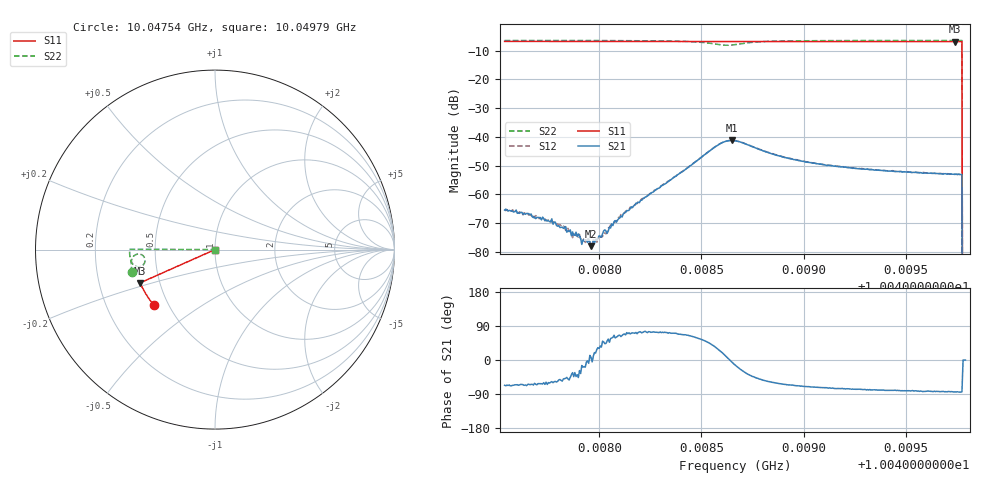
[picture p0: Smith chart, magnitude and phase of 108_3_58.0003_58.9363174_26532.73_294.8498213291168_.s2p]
#  HZ  S  RI  R  50.00
! Rohde & Schwarz Vector Network Analyzer
! Rohde-Schwarz,ZNB20-2Port,1311601062101988,3.16
! Created: UTC 3/21/2024, 12:55:06 AM
! freq[Hz]  re:S11  im:S11  re:S21  im:S21  re:S12  im:S12  re:S22  im:S22
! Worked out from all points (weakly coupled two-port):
!   401 points, 10.04754 GHz to 10.04979 GHz, reference 50 ohm
!   highest |S21| = -41.22 dB at 10.04865 GHz (marker M1); lowest = -78.0 dB at 10.04796 GHz (marker M2)
!   lowest |S11| = -6.8 dB at 10.04974 GHz (marker M3), VSWR 2.68, Z = 19.4 - j9.16 ohm
!   |S11| at or under -10 dB: 10.04978 GHz to end of sweep
!   |S22| runs from - to -6.4 dB; largest |S21 - S12| = 0.0006
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1.0047537e10  -0.3396 -0.3105  0.000211 -0.000488  0.000234 -0.000494  -0.4606 -0.1264
1.0047655e10  -0.3448 -0.3044  0.000201 -0.000414  0.000194 -0.000389  -0.4625 -0.1178
1.0047683e10  -0.3457 -0.3031  0.000188 -0.000349  0.000199 -0.000337  -0.4628 -0.1158
1.0047773e10  -0.3496 -0.2983  0.000152 -0.000261  0.000183 -0.000277  -0.4642 -0.1091
1.0047852e10  -0.3529 -0.294  0.000136 -0.000178  0.000138 -0.000182  -0.465 -0.1028
1.0047897e10  -0.3546 -0.2918  0.000141 -0.000147  0.000147 -0.000105  -0.4655 -0.0993
1.0047914e10  -0.3555 -0.2909  0.00013 -3.38e-05  0.000163 -6.5e-05  -0.4658 -0.0981
1.004796e10  -0.3572 -0.2884  0.000124 1.51e-05  0.000147 -5.36e-06  -0.4663 -0.0943
1.0047971e10  -0.3576 -0.2878  0.000159 2.83e-05  0.000144 4.95e-05  -0.4663 -0.0933
1.0048022e10  -0.3596 -0.2853  0.000157 0.000172  0.000137 0.000158  -0.4666 -0.0891
1.0048044e10  -0.3605 -0.2841  0.000132 0.00019  0.000152 0.000208  -0.4669 -0.0869
1.0048117e10  -0.3634 -0.28  0.000176 0.000424  0.000178 0.000417  -0.4672 -0.0803
1.0048292e10  -0.3702 -0.2705  0.00039 0.00123  0.000307 0.00129  -0.4656 -0.0611
1.0048574e10  -0.3798 -0.2547  0.00595 0.0037  0.00574 0.00402  -0.4102 -0.028
1.0048648e10  -0.3821 -0.2509  0.00866 -0.000695  0.00871 -0.000135  -0.3909 -0.0693
1.0048664e10  -0.3827 -0.2501  0.00836 -0.00195  0.00853 -0.00141  -0.3955 -0.0798
1.0048856e10  -0.3897 -0.2396  0.00251 -0.00425  0.00277 -0.00413  -0.457 -0.0816
1.0049042e10  -0.3958 -0.2288  0.00113 -0.00331  0.00134 -0.00327  -0.4695 -0.0582
1.004942e10  -0.4072 -0.2065  0.000426 -0.0025  0.000577 -0.0025  -0.4752 -0.0245
1.0049742e10  -0.4159 -0.1869  0.000235 -0.00221  0.000379 -0.00223  -0.4762 -0.000214
1.0049764e10  -0.4165 -0.1857  0.000197 -0.0022  0.000343 -0.0022  -0.4763 0.00137
1.0049792e10  0 0  0 0  0 0  0 0
